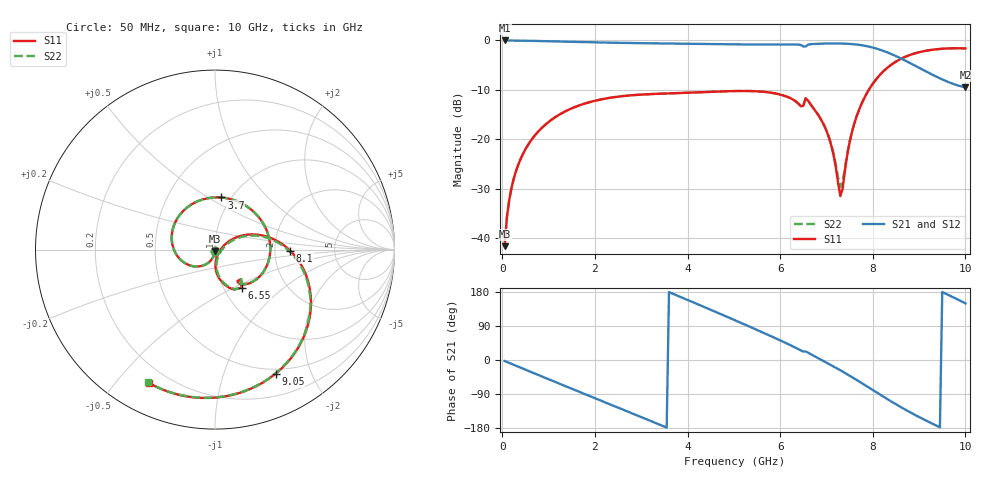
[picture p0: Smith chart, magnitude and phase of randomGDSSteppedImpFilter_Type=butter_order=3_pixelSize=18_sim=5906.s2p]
! freq	dB(S11)	phase(S11)	dB(S12)	phase(S12)
!  dB(S21)	phase(S21)	dB(S22)	phase(S22)
!S-par simulation data
#  GHz  S  DB  R 50
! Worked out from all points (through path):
!   200 points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, 50 MHz to 10 GHz, reference 50 ohm
!   highest |S21| = -0.01 dB at 50 MHz (marker M1); lowest = -9.5 dB at 10 GHz (marker M2)
!   group delay of S21, straight-line fit = 158 ps
!   lowest |S11| = -41.6 dB at 50 MHz (marker M3), VSWR 1.02, Z = 50 - j0.83 ohm
!   |S11| at or under -10 dB: start of sweep to 7.915 GHz
!   |S22| runs from -41.6 to -1.6 dB; largest |S21 - S12| = 0
!   S11 on the Smith chart (normalised r, x): 50 MHz: 1.00, -0.02; 3.7 GHz: 0.90, +0.57; 6.55 GHz: 1.21, -0.55; 8.1 GHz: 2.44, -0.04; 9.05 GHz: 0.44, -1.51; 10 GHz: 0.13, -0.62
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0.05  -41.61 -90.7  -0.01 -2.6  -0.01 -2.6  -41.61 -91.0
0.1  -35.72 -94.3  -0.01 -5.2  -0.01 -5.2  -35.72 -94.3
0.2  -29.78 -100.1  -0.02 -10.3  -0.02 -10.3  -29.78 -100.1
0.5  -22.00 -115.9  -0.06 -25.5  -0.06 -25.5  -22.00 -115.9
1.15  -15.48 -149.1  -0.20 -58.3  -0.20 -58.3  -15.48 -149.1
1.75  -12.86 -179.1  -0.34 -88.2  -0.34 -88.2  -12.86 -179.1
2.5  -11.37 143.6  -0.48 -125.5  -0.48 -125.5  -11.37 143.5
3.4  -10.78 98.3  -0.61 -170.7  -0.61 -170.7  -10.78 98.3
3.7  -10.68 83.1  -0.64 174.0  -0.64 174.0  -10.68 83.1
4.3  -10.47 52.3  -0.71 143.0  -0.71 143.0  -10.47 52.5
5.05  -10.23 13.5  -0.80 103.5  -0.80 103.5  -10.23 13.8
5.75  -10.50 -23.0  -0.84 65.8  -0.84 65.8  -10.50 -22.5
6.55  -11.74 -54.8  -1.21 22.4  -1.21 22.4  -11.71 -53.8
6.7  -13.48 -72.7  -0.73 12.7  -0.73 12.7  -13.46 -71.4
7.05  -19.56 -88.1  -0.62 -10.1  -0.62 -10.1  -19.44 -85.1
7.3  -31.48 -37.9  -0.62 -27.1  -0.62 -27.1  -29.67 -36.2
7.6  -16.87 29.5  -0.78 -48.7  -0.78 -48.7  -16.78 26.8
8.1  -7.55 -0.8  -1.71 -86.9  -1.71 -86.9  -7.54 -1.8
8.35  -5.26 -18.5  -2.55 -105.8  -2.55 -105.8  -5.26 -19.2
9.05  -2.28 -64.0  -5.78 -153.6  -5.78 -153.6  -2.28 -64.5
9.5  -1.68 -89.4  -7.88 179.4  -7.88 179.4  -1.69 -89.9
10  -1.63 -116.2  -9.47 149.4  -9.47 149.4  -1.64 -116.8
